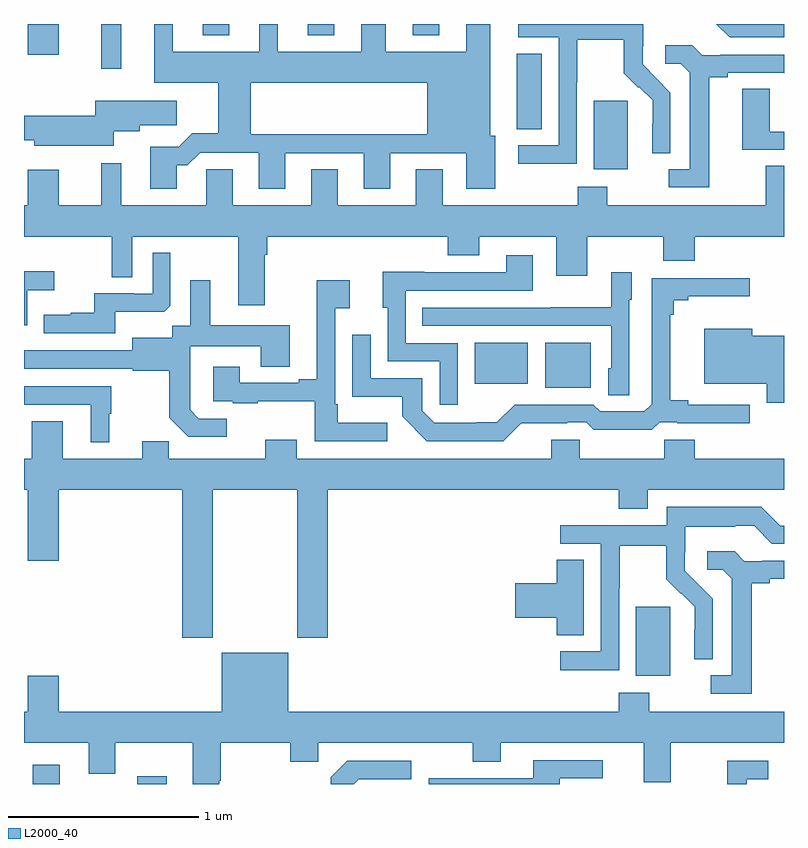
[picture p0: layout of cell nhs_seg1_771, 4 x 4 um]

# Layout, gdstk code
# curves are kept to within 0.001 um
import gdstk
lib = gdstk.Library(unit=1e-6, precision=1e-09)
def R(c, l, rs):  # rectangles x0, y0, x1, y1
    for r in rs: c.add(gdstk.rectangle(r[:2], r[2:], *l))
def A(c, l, x, y, w, h, nx, ny, dx, dy):  # array of equal rectangles
    R(c, l, [(x+i*dx, y+j*dy, x+i*dx+w, y+j*dy+h) for i in range(nx) for j in range(ny)])
def P(c, l, *ps):  # polygons
    for p in ps: c.add(gdstk.Polygon(p, *l))
L2000_40 = (2000, 40)

nhs_seg1_771 = lib.new_cell('nhs_seg1_771')
A(nhs_seg1_771, L2000_40, 153.941, 538.139, 0.14, 0.06, 3, 1, 0.552, 0)
R(nhs_seg1_771, L2000_40, [(153.047,534.199,153.187,534.301), (153.596,534.199,153.751,534.241), (156.221,534.77,156.4,535.131), (155.744,536.285,155.983,536.521), (155.372,536.306,155.65,536.521), (155.999,537.434,156.178,537.795), (155.594,537.646,155.725,538.043), (153.407,537.963,153.511,538.199), (153.02,538.038,153.184,538.199)])
P(nhs_seg1_771, L2000_40, [(155.91,537.892),(155.913,537.892),(155.913,538.116),(156.157,538.116),(156.157,537.941),(156.234,537.864),(156.237,537.867),(156.308,537.797),(156.308,537.674),(156.306,537.674),(156.306,537.52),(156.402,537.52),(156.402,537.838),(156.256,537.986),(156.256,538.083),(156.258,538.083),(156.258,538.199),(155.601,538.199),(155.601,538.128),(155.814,538.128),(155.814,537.561),(155.601,537.561),(155.601,537.463),(155.91,537.463)],
  [(157,538.199),(156.643,538.199),(156.714,538.128),(157,538.128)],
  [(153.665,537.553),(153.665,537.333),(153.805,537.333),(153.805,537.455),(153.86,537.455),(153.927,537.522),(154.235,537.522),(154.235,537.333),(154.375,537.333),(154.375,537.519),(154.787,537.519),(154.787,537.333),(154.927,537.333),(154.927,537.519),(155.327,537.519),(155.327,537.333),(155.479,537.333),(155.479,537.612),(155.455,537.612),(155.455,538.199),(155.327,538.199),(155.327,538.054),(154.903,538.054),(154.903,538.199),(154.775,538.199),(154.775,538.054),(154.336,538.054),(154.336,538.199),(154.238,538.199),(154.238,538.054),(153.784,538.054),(153.784,538.199),(153.686,538.199),(153.686,537.89),(154.022,537.89),(154.022,537.623),(153.884,537.623),(153.881,537.62),(154.193,537.62),(154.193,537.89),(155.123,537.89),(155.123,537.62),(153.881,537.62),(153.814,537.553)],
  [(156.607,537.92),(156.703,537.92),(156.703,537.942),(156.998,537.942),(157,537.94),(157,538.038),(156.664,538.038),(156.664,538.035),(156.57,538.035),(156.518,538.087),(156.375,538.087),(156.375,537.99),(156.456,537.99),(156.503,537.943),(156.503,537.435),(156.393,537.435),(156.393,537.339),(156.607,537.339)],
  [(157,537.633),(156.924,537.633),(156.924,537.857),(156.779,537.857),(156.779,537.537),(157,537.537)],
  [(153.472,537.635),(153.61,537.635),(153.61,537.667),(153.805,537.667),(153.805,537.796),(153.374,537.796),(153.374,537.717),(153,537.717),(153,537.587),(153.053,537.587),(153.053,537.557),(153.472,537.557)],
  [(154.267,536.984),(154.28,536.984),(154.28,537.08),(155.231,537.08),(155.231,536.981),(155.395,536.981),(155.395,537.08),(155.801,537.08),(155.801,536.874),(155.965,536.874),(155.965,537.08),(156.365,537.08),(156.365,536.952),(156.529,536.952),(156.529,537.08),(157,537.08),(157,537.452),(156.905,537.452),(156.905,537.244),(156.069,537.244),(156.069,537.343),(155.914,537.343),(155.914,537.244),(155.203,537.244),(155.203,537.434),(155.063,537.434),(155.063,537.244),(154.651,537.244),(154.651,537.434),(154.511,537.434),(154.511,537.244),(154.099,537.244),(154.099,537.434),(153.96,537.434),(153.96,537.244),(153.511,537.244),(153.511,537.466),(153.407,537.466),(153.407,537.244),(153.184,537.244),(153.184,537.433),(153.02,537.433),(153.02,537.244),(153,537.244),(153,537.08),(153.462,537.08),(153.462,536.866),(153.57,536.866),(153.57,537.08),(154.127,537.08),(154.127,536.718),(154.267,536.718)],
  [(153.481,536.684),(153.739,536.684),(153.771,536.715),(153.771,536.995),(153.678,536.995),(153.678,536.778),(153.578,536.778),(153.578,536.781),(153.371,536.781),(153.371,536.68),(153.247,536.68),(153.247,536.668),(153.103,536.668),(153.103,536.571),(153.481,536.571)],
  [(155.283,536.52),(155.01,536.52),(155.01,536.796),(155.677,536.796),(155.677,536.983),(155.537,536.983),(155.537,536.892),(155.107,536.892),(155.107,536.894),(154.889,536.894),(154.889,536.706),(154.914,536.706),(154.914,536.424),(155.187,536.424),(155.187,536.196),(155.283,536.196)],
  [(153.018,536.798),(153.16,536.798),(153.16,536.897),(153,536.897),(153,536.613),(153.018,536.613)],
  [(156.186,536.748),(156.199,536.748),(156.199,536.893),(156.09,536.893),(156.09,536.707),(155.773,536.707),(155.773,536.706),(155.095,536.706),(155.095,536.61),(156.09,536.61),(156.09,536.388),(156.074,536.388),(156.074,536.245),(156.186,536.245)],
  [(155.618,536.099),(155.858,536.099),(155.858,536.103),(155.958,536.103),(155.998,536.064),(156.305,536.064),(156.345,536.103),(156.439,536.103),(156.439,536.099),(156.82,536.099),(156.82,536.196),(156.496,536.196),(156.496,536.219),(156.401,536.219),(156.401,536.669),(156.419,536.669),(156.419,536.746),(156.496,536.746),(156.496,536.765),(156.82,536.765),(156.82,536.862),(156.303,536.862),(156.303,536.199),(156.264,536.16),(156.033,536.16),(155.997,536.196),(155.583,536.196),(155.489,536.102),(155.384,536.102),(155.384,536.1),(155.16,536.1),(155.097,536.163),(155.097,536.334),(154.824,536.334),(154.824,536.563),(154.728,536.563),(154.728,536.237),(154.99,536.237),(154.99,536.135),(155.12,536.004),(155.523,536.004)],
  [(154.912,536.101),(154.651,536.101),(154.651,536.197),(154.638,536.197),(154.638,536.702),(154.714,536.702),(154.714,536.851),(154.541,536.851),(154.541,536.329),(154.445,536.329),(154.445,536.31),(154.135,536.31),(154.135,536.395),(153.995,536.395),(153.995,536.214),(154.099,536.214),(154.099,536.202),(154.231,536.202),(154.231,536.213),(154.53,536.213),(154.53,536.004),(154.912,536.004)],
  [(154.066,536.121),(153.921,536.121),(153.874,536.168),(153.874,536.263),(153.876,536.263),(153.876,536.504),(154.247,536.504),(154.247,536.395),(154.399,536.395),(154.399,536.614),(153.979,536.614),(153.979,536.851),(153.875,536.851),(153.875,536.612),(153.78,536.612),(153.78,536.548),(153.569,536.548),(153.569,536.481),(153,536.482),(153,536.385),(153.573,536.385),(153.573,536.373),(153.765,536.373),(153.765,536.127),(153.865,536.027),(154.066,536.027)],
  [(157,536.557),(156.832,536.557),(156.832,536.596),(156.581,536.596),(156.581,536.306),(156.908,536.306),(156.908,536.205),(157,536.205)],
  [(153.448,536.148),(153.46,536.148),(153.46,536.292),(153,536.292),(153,536.196),(153.35,536.196),(153.35,535.997),(153.448,535.997)],
  [(153.993,535.748),(154.438,535.748),(154.438,534.969),(154.598,534.969),(154.598,535.748),(156.131,535.748),(156.131,535.649),(156.283,535.649),(156.283,535.748),(157,535.748),(157,535.912),(156.53,535.912),(156.53,536.01),(156.37,536.01),(156.37,535.912),(155.925,535.912),(155.925,536.01),(155.774,536.01),(155.774,535.912),(154.435,535.912),(154.435,536.011),(154.271,536.011),(154.271,535.912),(153.761,535.912),(153.761,536.003),(153.623,536.003),(153.623,535.912),(153.205,535.912),(153.205,536.107),(153.041,536.107),(153.041,535.912),(153,535.912),(153,535.748),(153.02,535.748),(153.02,535.374),(153.184,535.374),(153.184,535.748),(153.833,535.748),(153.833,534.969),(153.993,534.969)],
  [(156.132,535.228),(156.135,535.228),(156.135,535.452),(156.379,535.452),(156.379,535.277),(156.456,535.2),(156.459,535.203),(156.53,535.133),(156.53,535.01),(156.528,535.01),(156.528,534.856),(156.624,534.856),(156.624,535.174),(156.478,535.322),(156.478,535.419),(156.48,535.419),(156.48,535.553),(156.743,535.553),(156.743,535.557),(156.843,535.557),(156.936,535.464),(157,535.464),(157,535.557),(156.981,535.557),(156.881,535.657),(156.384,535.657),(156.384,535.56),(155.823,535.56),(155.823,535.464),(156.036,535.464),(156.036,534.897),(155.823,534.897),(155.823,534.799),(156.132,534.799)],
  [(156.829,535.256),(156.925,535.256),(156.925,535.278),(157,535.278),(157,535.374),(156.886,535.374),(156.886,535.371),(156.792,535.371),(156.74,535.423),(156.597,535.423),(156.597,535.326),(156.678,535.326),(156.725,535.279),(156.725,534.771),(156.615,534.771),(156.615,534.675),(156.829,534.675)],
  [(155.947,535.379),(155.804,535.379),(155.804,535.256),(155.586,535.256),(155.586,535.073),(155.804,535.073),(155.804,534.982),(155.947,534.982)],
  [(154.027,534.217),(154.035,534.217),(154.035,534.416),(154.402,534.416),(154.402,534.317),(154.548,534.317),(154.548,534.416),(155.362,534.416),(155.362,534.317),(155.509,534.317),(155.509,534.416),(156.263,534.416),(156.263,534.208),(156.403,534.208),(156.403,534.416),(157,534.416),(157,534.58),(156.291,534.58),(156.291,534.679),(156.131,534.679),(156.131,534.58),(154.39,534.58),(154.39,534.889),(154.04,534.889),(154.04,534.58),(153.184,534.58),(153.184,534.769),(153.02,534.769),(153.02,534.58),(153,534.58),(153,534.416),(153.341,534.416),(153.341,534.252),(153.481,534.252),(153.481,534.416),(153.887,534.416),(153.887,534.199),(154.027,534.199)],
  [(155.821,534.228),(156.046,534.228),(156.046,534.324),(155.681,534.324),(155.681,534.228),(155.13,534.228),(155.13,534.199),(155.821,534.199)],
  [(156.805,534.225),(156.916,534.225),(156.916,534.321),(156.701,534.321),(156.701,534.199),(156.805,534.199)],
  [(154.761,534.225),(155.038,534.225),(155.038,534.321),(154.701,534.321),(154.614,534.234),(154.614,534.199),(154.735,534.199)])

lib.write_gds('nhs_seg1_771.gds')
